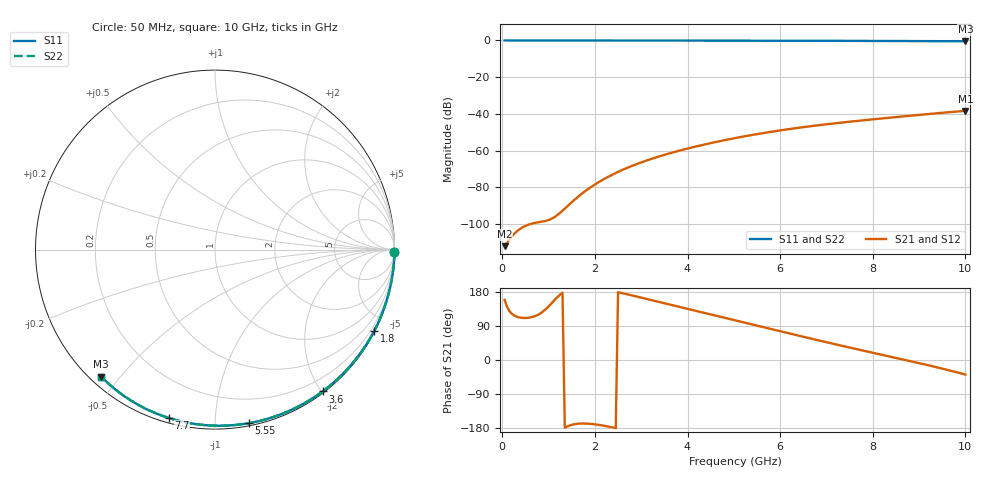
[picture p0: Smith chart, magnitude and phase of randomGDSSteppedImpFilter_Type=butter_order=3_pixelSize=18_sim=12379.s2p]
! freq	dB(S11)	phase(S11)	dB(S12)	phase(S12)
!  dB(S21)	phase(S21)	dB(S22)	phase(S22)
!S-par simulation data
#  GHz  S  DB  R 50
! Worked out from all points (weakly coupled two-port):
!   200 points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, 50 MHz to 10 GHz, reference 50 ohm
!   highest |S21| = -38.29 dB at 10 GHz (marker M1); lowest = -111.9 dB at 50 MHz (marker M2)
!   lowest |S11| = -0.4 dB at 10 GHz (marker M3), VSWR 38.98, Z = 1.54 - j22.3 ohm
!   |S11| at or under -10 dB: nowhere
!   |S22| runs from -0.4 to 0.0 dB; largest |S21 - S12| = 0
!   S11 on the Smith chart (normalised r, x): 50 MHz: open; 1.8 GHz: 0.04, -4.16; 3.6 GHz: 0.02, -2.01; 5.55 GHz: 0.02, -1.22; 7.7 GHz: 0.02, -0.76; 10 GHz: 0.03, -0.45
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0.05  -0.00 -0.8  -111.93 158.7  -111.93 158.7  -0.00 -0.8
0.45  -0.01 -6.9  -101.55 111.0  -101.55 111.0  -0.01 -6.9
0.9  -0.02 -13.6  -98.38 130.0  -98.38 130.0  -0.02 -13.6
1.75  -0.03 -26.3  -82.75 -167.6  -82.75 -167.6  -0.03 -26.3
1.8  -0.03 -27.0  -81.81 -167.7  -81.81 -167.7  -0.03 -27.0
1.9  -0.04 -28.5  -80.03 -168.5  -80.03 -168.5  -0.04 -28.5
2.05  -0.04 -30.7  -77.57 -170.6  -77.57 -170.6  -0.04 -30.7
2.25  -0.04 -33.6  -74.66 -174.7  -74.66 -174.7  -0.04 -33.6
2.45  -0.05 -36.5  -72.10 -179.7  -72.10 -179.7  -0.05 -36.5
2.65  -0.05 -39.4  -69.81 174.8  -69.81 174.8  -0.05 -39.4
3  -0.06 -44.4  -66.34 164.6  -66.34 164.6  -0.06 -44.4
3.4  -0.07 -50.0  -62.99 152.7  -62.99 152.7  -0.07 -50.0
3.6  -0.07 -52.8  -61.51 146.8  -61.51 146.8  -0.07 -52.8
4.3  -0.09 -62.4  -56.99 126.2  -56.99 126.2  -0.09 -62.4
5.05  -0.11 -72.4  -53.01 104.2  -53.01 104.2  -0.11 -72.4
5.55  -0.13 -78.9  -50.74 89.4  -50.74 89.4  -0.13 -78.9
6.1  -0.15 -85.9  -48.56 73.1  -48.56 73.1  -0.15 -85.9
6.7  -0.18 -93.3  -46.51 55.5  -46.51 55.5  -0.18 -93.3
7.7  -0.24 -105.4  -43.68 27.3  -43.68 27.3  -0.24 -105.4
8.35  -0.29 -113.0  -42.05 9.7  -42.05 9.7  -0.29 -113.0
9.15  -0.36 -122.2  -40.15 -12.4  -40.15 -12.4  -0.36 -122.2
10  -0.45 -131.9  -38.29 -38.4  -38.29 -38.4  -0.45 -131.9
